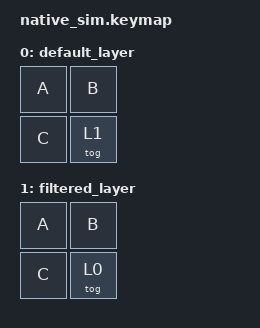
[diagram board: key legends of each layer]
#include <dt-bindings/zmk/keys.h>
#include <behaviors.dtsi>
#include <dt-bindings/zmk/input_mock.h>

/* it is useful to set timeout to a large value when attaching a debugger. */
#define TIMEOUT (60*60*1000)

/ {
    combos {
        compatible = "zmk,combos";
        combo_one {
            timeout-ms = <TIMEOUT>;
            key-positions = <0 1>;
            bindings = <&kp X>;
            layers = <0>;
        };

        combo_two {
            timeout-ms = <TIMEOUT>;
            key-positions = <0 1>;
            bindings = <&kp Y>;
            layers = <1>;
        };

        combo_three {
            timeout-ms = <TIMEOUT>;
            key-positions = <0 2>;
            bindings = <&kp Z>;
        };
    };

    keymap {
        compatible = "zmk,keymap";

        default_layer {
            bindings = <
                &kp A &kp B
                &kp C &tog 1
            >;
        };

        filtered_layer {
            bindings = <
                &kp A &kp B
                &kp C &tog 0
            >;
        };
    };
};

&mock_input {
    events = <
        /* Combo One */
        ZMK_INPUT_MOCK_PRESS(0,0,10)
        ZMK_INPUT_MOCK_PRESS(0,1,10)
        ZMK_INPUT_MOCK_RELEASE(0,0,10)
        ZMK_INPUT_MOCK_RELEASE(0,1,10)
        /* Combo Three */
        ZMK_INPUT_MOCK_PRESS(0,0,10)
        ZMK_INPUT_MOCK_PRESS(1,1,10)
        ZMK_INPUT_MOCK_RELEASE(0,0,10)
        ZMK_INPUT_MOCK_RELEASE(1,1,10)
        /* Toggle Layer */
        ZMK_INPUT_MOCK_PRESS(1,1,10)
        ZMK_INPUT_MOCK_RELEASE(1,1,10)
        /* Combo Two */
        ZMK_INPUT_MOCK_PRESS(0,0,10)
        ZMK_INPUT_MOCK_PRESS(0,1,10)
        ZMK_INPUT_MOCK_RELEASE(0,0,10)
        ZMK_INPUT_MOCK_RELEASE(0,1,10)
        /* Combo Three */
        ZMK_INPUT_MOCK_PRESS(0,0,10)
        ZMK_INPUT_MOCK_PRESS(1,1,10)
        ZMK_INPUT_MOCK_RELEASE(0,0,10)
        ZMK_INPUT_MOCK_RELEASE(1,1,10)
    >;
};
